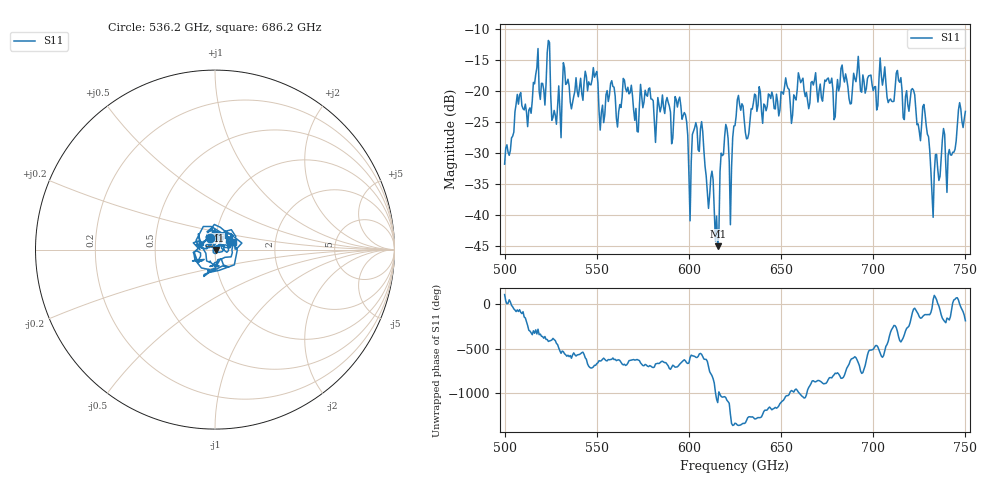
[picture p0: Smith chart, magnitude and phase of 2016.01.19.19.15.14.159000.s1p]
!Created with skrf (http://scikit-rf.org).
# GHz S RI R 50.0
!freq ReS11 ImS11
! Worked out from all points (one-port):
!   401 points, 500 GHz to 750 GHz, reference 50 ohm
!   lowest |S11| = -45.0 dB at 615.6 GHz (marker M1), VSWR 1.01, Z = 50.5 - j0.253 ohm
!   |S11| at or under -10 dB: start of sweep to end of sweep
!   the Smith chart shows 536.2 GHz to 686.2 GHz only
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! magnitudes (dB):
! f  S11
! 500 GHz  -31.8
! 507.5 GHz  -22.1
! 513.8 GHz  -22.7
! 516.9 GHz  -17.4
! 520.6 GHz  -18.8
! 523.8 GHz  -11.9
! 526.9 GHz  -23.1
! 531.2 GHz  -20.2
! 548.8 GHz  -17.8
! 552.5 GHz  -23.4
! 558.1 GHz  -18.3
! 562.5 GHz  -22.2
! 593.8 GHz  -22.6
! 600.6 GHz  -40.9
! 603.1 GHz  -25.9
! 607.5 GHz  -26.5
! 615.6 GHz  -45.0
! 618.8 GHz  -30.2
! 622.5 GHz  -41.5
! 625 GHz  -25.6
! 656.2 GHz  -23.9
! 660.6 GHz  -18.7
! 687.5 GHz  -22.1
! 705 GHz  -19.1
! 718.8 GHz  -22.2
! 728.1 GHz  -23.7
! 732.5 GHz  -40.4
! 750 GHz  -23.3
